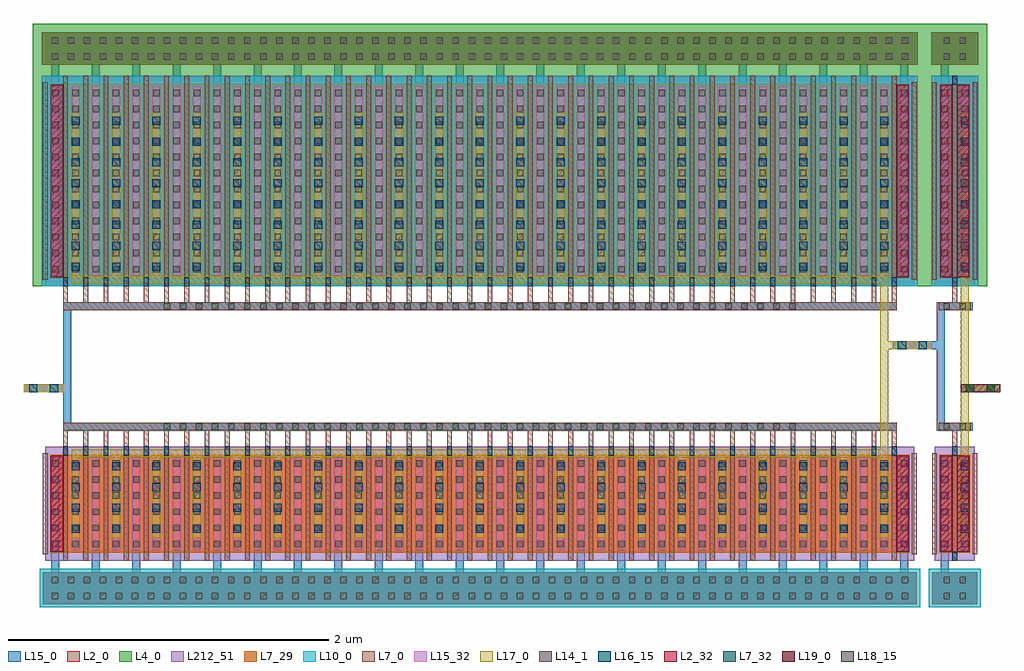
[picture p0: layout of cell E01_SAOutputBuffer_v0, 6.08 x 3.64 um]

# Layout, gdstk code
import gdstk
lib = gdstk.Library(unit=1e-6, precision=1e-09)
def R(c, l, rs):  # rectangles x0, y0, x1, y1
    for r in rs: c.add(gdstk.rectangle(r[:2], r[2:], *l))
def A(c, l, x, y, w, h, nx, ny, dx, dy):  # array of equal rectangles
    R(c, l, [(x+i*dx, y+j*dy, x+i*dx+w, y+j*dy+h) for i in range(nx) for j in range(ny)])
def P(c, l, *ps):  # polygons
    for p in ps: c.add(gdstk.Polygon(p, *l))
L2_0 = (2, 0)
L2_32 = (2, 32)
L4_0 = (4, 0)
L7_0 = (7, 0)
L7_29 = (7, 29)
L7_32 = (7, 32)
L10_0 = (10, 0)
L14_1 = (14, 1)
L15_0 = (15, 0)
L15_32 = (15, 32)
L16_15 = (16, 15)
L17_0 = (17, 0)
L18_15 = (18, 15)
L19_0 = (19, 0)
L212_51 = (212, 51)

e01_saoutputbuffer_v0_sr = lib.new_cell('E01_SAOutputBuffer_v0:SRF_Inverter1:SRF_NMOS:SRF_Drain_ViaM1M2:SRF_ViaM1M2')
R(e01_saoutputbuffer_v0_sr, L15_0, [(0,-0.422,0.05,0.082)])
A(e01_saoutputbuffer_v0_sr, L16_15, 0, -0.39, 0.05, 0.05, 1, 4, 0, 0.13)
R(e01_saoutputbuffer_v0_sr, L17_0, [(0,-0.422,0.05,0.082)])

c_e01_saoutputbuffer_v0_sr = lib.new_cell('E01_SAOutputBuffer_v0:SRF_Inverter1:SRF_NMOS:SRF_Drain_ViaM1M2')
c_e01_saoutputbuffer_v0_sr.add(gdstk.Reference(e01_saoutputbuffer_v0_sr, (-0.025,0.17)))

c_e01_saoutputbuffer_v0_sr_ = lib.new_cell('E01_SAOutputBuffer_v0:SRF_Inverter1:SRF_NMOS:SRF_Gate_ViaM0Mx:SRF_ViaM0M1')
R(c_e01_saoutputbuffer_v0_sr_, L7_0, [(-0.01,-0.004,3.95,0.044)])
A(c_e01_saoutputbuffer_v0_sr_, L14_1, 0, 0, 0.04, 0.04, 40, 1, 0.1, 0)
R(c_e01_saoutputbuffer_v0_sr_, L15_0, [(-0.021,-0.005,3.961,0.045)])

c_e01_saoutputbuffer_v0_sr__ = lib.new_cell('E01_SAOutputBuffer_v0:SRF_Inverter1:SRF_NMOS:SRF_Gate_ViaM0Mx')
c_e01_saoutputbuffer_v0_sr__.add(gdstk.Reference(c_e01_saoutputbuffer_v0_sr_, (-1.97,-0.02)))

c_e01_saoutputbuffer_v0_sr___ = lib.new_cell('E01_SAOutputBuffer_v0:SRF_Inverter1:SRF_NMOS')
R(c_e01_saoutputbuffer_v0_sr___, L2_0, [(-0.076,0.057,5.272,0.657)])
R(c_e01_saoutputbuffer_v0_sr___, L2_32, [(-0.076,0.057,0,0.657), (5.196,0.057,5.272,0.657)])
A(c_e01_saoutputbuffer_v0_sr___, L7_0, 0, 0, 0.03, 0.714, 42, 1, 0.126, 0)
A(c_e01_saoutputbuffer_v0_sr___, L7_0, 0, 0.714, 0.03, 0.1, 42, 1, 0.126, 0)
R(c_e01_saoutputbuffer_v0_sr___, L7_0, [(-0.126,0.041,-0.096,0.673), (5.292,0.041,5.322,0.673), (0,0.814,5.196,0.862)])
R(c_e01_saoutputbuffer_v0_sr___, L7_29, [(-0.081,0.052,5.277,0.662)])
A(c_e01_saoutputbuffer_v0_sr___, L7_32, 0, 0.657, 0.03, 0.057, 42, 1, 0.126, 0)
A(c_e01_saoutputbuffer_v0_sr___, L14_1, -0.068, 0.087, 0.04, 0.04, 43, 6, 0.126, 0.1)
R(c_e01_saoutputbuffer_v0_sr___, L15_0, [(-0.073,0.066,-0.023,0.648), (-0.073,0.066,-0.023,0.648), (0.053,0.066,0.103,0.648), (0.053,0.066,0.103,0.648), (0.179,0.066,0.229,0.648), (0.179,0.066,0.229,0.648), (0.305,0.066,0.355,0.648), (0.305,0.066,0.355,0.648), (0.431,0.066,0.481,0.648), (0.431,0.066,0.481,0.648), (0.557,0.066,0.607,0.648), (0.557,0.066,0.607,0.648), (0.683,0.066,0.733,0.648), (0.683,0.066,0.733,0.648), (0.809,0.066,0.859,0.648), (0.809,0.066,0.859,0.648), (0.935,0.066,0.985,0.648), (0.935,0.066,0.985,0.648), (1.061,0.066,1.111,0.648), (1.061,0.066,1.111,0.648), (1.187,0.066,1.237,0.648), (1.187,0.066,1.237,0.648), (1.313,0.066,1.363,0.648), (1.313,0.066,1.363,0.648), (1.439,0.066,1.489,0.648), (1.439,0.066,1.489,0.648), (1.565,0.066,1.615,0.648), (1.565,0.066,1.615,0.648), (1.691,0.066,1.741,0.648), (1.691,0.066,1.741,0.648), (1.817,0.066,1.867,0.648), (1.817,0.066,1.867,0.648), (1.943,0.066,1.993,0.648), (1.943,0.066,1.993,0.648), (2.069,0.066,2.119,0.648), (2.069,0.066,2.119,0.648), (2.195,0.066,2.245,0.648), (2.195,0.066,2.245,0.648), (2.321,0.066,2.371,0.648), (2.321,0.066,2.371,0.648), (2.447,0.066,2.497,0.648), (2.447,0.066,2.497,0.648), (2.573,0.066,2.623,0.648), (2.573,0.066,2.623,0.648), (2.699,0.066,2.749,0.648), (2.699,0.066,2.749,0.648), (2.825,0.066,2.875,0.648), (2.825,0.066,2.875,0.648), (2.951,0.066,3.001,0.648), (2.951,0.066,3.001,0.648), (3.077,0.066,3.127,0.648), (3.077,0.066,3.127,0.648), (3.203,0.066,3.253,0.648), (3.203,0.066,3.253,0.648), (3.329,0.066,3.379,0.648), (3.329,0.066,3.379,0.648), (3.455,0.066,3.505,0.648), (3.455,0.066,3.505,0.648), (3.581,0.066,3.631,0.648), (3.581,0.066,3.631,0.648), (3.707,0.066,3.757,0.648), (3.707,0.066,3.757,0.648), (3.833,0.066,3.883,0.648), (3.833,0.066,3.883,0.648), (3.959,0.066,4.009,0.648), (3.959,0.066,4.009,0.648), (4.085,0.066,4.135,0.648), (4.085,0.066,4.135,0.648), (4.211,0.066,4.261,0.648), (4.211,0.066,4.261,0.648), (4.337,0.066,4.387,0.648), (4.337,0.066,4.387,0.648), (4.463,0.066,4.513,0.648), (4.463,0.066,4.513,0.648), (4.589,0.066,4.639,0.648), (4.589,0.066,4.639,0.648), (4.715,0.066,4.765,0.648), (4.715,0.066,4.765,0.648), (4.841,0.066,4.891,0.648), (4.841,0.066,4.891,0.648), (4.967,0.066,5.017,0.648), (4.967,0.066,5.017,0.648), (5.093,0.066,5.143,0.648), (5.093,0.066,5.143,0.648), (5.219,0.066,5.269,0.648), (5.219,0.066,5.269,0.648), (0,0.813,5.196,0.863)])
A(c_e01_saoutputbuffer_v0_sr___, L15_32, -0.073, 0.066, 0.05, 0.582, 43, 1, 0.126, 0)
R(c_e01_saoutputbuffer_v0_sr___, L17_0, [(0.053,0.648,5.143,0.698)])
P(c_e01_saoutputbuffer_v0_sr___, L17_0, [(0.053,0.648),(0.103,0.648),(0.103,0.648),(0.053,0.648)],
  [(0.305,0.648),(0.355,0.648),(0.355,0.648),(0.305,0.648)],
  [(0.557,0.648),(0.607,0.648),(0.607,0.648),(0.557,0.648)],
  [(0.809,0.648),(0.859,0.648),(0.859,0.648),(0.809,0.648)],
  [(1.061,0.648),(1.111,0.648),(1.111,0.648),(1.061,0.648)],
  [(1.313,0.648),(1.363,0.648),(1.363,0.648),(1.313,0.648)],
  [(1.565,0.648),(1.615,0.648),(1.615,0.648),(1.565,0.648)],
  [(1.817,0.648),(1.867,0.648),(1.867,0.648),(1.817,0.648)],
  [(2.069,0.648),(2.119,0.648),(2.119,0.648),(2.069,0.648)],
  [(2.321,0.648),(2.371,0.648),(2.371,0.648),(2.321,0.648)],
  [(2.573,0.648),(2.623,0.648),(2.623,0.648),(2.573,0.648)],
  [(2.825,0.648),(2.875,0.648),(2.875,0.648),(2.825,0.648)],
  [(3.077,0.648),(3.127,0.648),(3.127,0.648),(3.077,0.648)],
  [(3.329,0.648),(3.379,0.648),(3.379,0.648),(3.329,0.648)],
  [(3.581,0.648),(3.631,0.648),(3.631,0.648),(3.581,0.648)],
  [(3.833,0.648),(3.883,0.648),(3.883,0.648),(3.833,0.648)],
  [(4.085,0.648),(4.135,0.648),(4.135,0.648),(4.085,0.648)],
  [(4.337,0.648),(4.387,0.648),(4.387,0.648),(4.337,0.648)],
  [(4.589,0.648),(4.639,0.648),(4.639,0.648),(4.589,0.648)],
  [(4.841,0.648),(4.891,0.648),(4.891,0.648),(4.841,0.648)],
  [(5.093,0.648),(5.143,0.648),(5.143,0.648),(5.093,0.648)])
R(c_e01_saoutputbuffer_v0_sr___, L212_51, [(-0.111,0.001,5.307,0.713)])
c_e01_saoutputbuffer_v0_sr___.add(gdstk.Reference(c_e01_saoutputbuffer_v0_sr, (0.078,0.396)))
c_e01_saoutputbuffer_v0_sr___.add(gdstk.Reference(c_e01_saoutputbuffer_v0_sr, (0.33,0.396)))
c_e01_saoutputbuffer_v0_sr___.add(gdstk.Reference(c_e01_saoutputbuffer_v0_sr, (0.582,0.396)))
c_e01_saoutputbuffer_v0_sr___.add(gdstk.Reference(c_e01_saoutputbuffer_v0_sr, (0.834,0.396)))
c_e01_saoutputbuffer_v0_sr___.add(gdstk.Reference(c_e01_saoutputbuffer_v0_sr, (1.086,0.396)))
c_e01_saoutputbuffer_v0_sr___.add(gdstk.Reference(c_e01_saoutputbuffer_v0_sr, (1.338,0.396)))
c_e01_saoutputbuffer_v0_sr___.add(gdstk.Reference(c_e01_saoutputbuffer_v0_sr, (1.59,0.396)))
c_e01_saoutputbuffer_v0_sr___.add(gdstk.Reference(c_e01_saoutputbuffer_v0_sr, (1.842,0.396)))
c_e01_saoutputbuffer_v0_sr___.add(gdstk.Reference(c_e01_saoutputbuffer_v0_sr, (2.094,0.396)))
c_e01_saoutputbuffer_v0_sr___.add(gdstk.Reference(c_e01_saoutputbuffer_v0_sr, (2.346,0.396)))
c_e01_saoutputbuffer_v0_sr___.add(gdstk.Reference(c_e01_saoutputbuffer_v0_sr, (2.598,0.396)))
c_e01_saoutputbuffer_v0_sr___.add(gdstk.Reference(c_e01_saoutputbuffer_v0_sr, (2.85,0.396)))
c_e01_saoutputbuffer_v0_sr___.add(gdstk.Reference(c_e01_saoutputbuffer_v0_sr, (3.102,0.396)))
c_e01_saoutputbuffer_v0_sr___.add(gdstk.Reference(c_e01_saoutputbuffer_v0_sr, (3.354,0.396)))
c_e01_saoutputbuffer_v0_sr___.add(gdstk.Reference(c_e01_saoutputbuffer_v0_sr, (3.606,0.396)))
c_e01_saoutputbuffer_v0_sr___.add(gdstk.Reference(c_e01_saoutputbuffer_v0_sr, (3.858,0.396)))
c_e01_saoutputbuffer_v0_sr___.add(gdstk.Reference(c_e01_saoutputbuffer_v0_sr, (4.11,0.396)))
c_e01_saoutputbuffer_v0_sr___.add(gdstk.Reference(c_e01_saoutputbuffer_v0_sr, (4.362,0.396)))
c_e01_saoutputbuffer_v0_sr___.add(gdstk.Reference(c_e01_saoutputbuffer_v0_sr, (4.614,0.396)))
c_e01_saoutputbuffer_v0_sr___.add(gdstk.Reference(c_e01_saoutputbuffer_v0_sr, (4.866,0.396)))
c_e01_saoutputbuffer_v0_sr___.add(gdstk.Reference(c_e01_saoutputbuffer_v0_sr, (5.118,0.396)))
c_e01_saoutputbuffer_v0_sr___.add(gdstk.Reference(c_e01_saoutputbuffer_v0_sr__, (2.598,0.838)))

c_e01_saoutputbuffer_v0_sr____ = lib.new_cell('E01_SAOutputBuffer_v0:SRF_Inverter1:SRF_Pbody:SRF_PbodyContactPhyLen')
R(c_e01_saoutputbuffer_v0_sr____, L2_0, [(-0.054,-0.13,5.394,0.07)])
R(c_e01_saoutputbuffer_v0_sr____, L10_0, [(-0.075,-0.151,5.415,0.091)])
A(c_e01_saoutputbuffer_v0_sr____, L14_1, 0, -0.1, 0.04, 0.04, 54, 2, 0.1, 0.1)
R(c_e01_saoutputbuffer_v0_sr____, L15_0, [(-0.054,-0.13,5.394,0.07)])

c_e01_saoutputbuffer_v0_sr_____ = lib.new_cell('E01_SAOutputBuffer_v0:SRF_Inverter1:SRF_Pbody')
c_e01_saoutputbuffer_v0_sr_____.add(gdstk.Reference(c_e01_saoutputbuffer_v0_sr____, (0,0)))

c_e01_saoutputbuffer_v0_sr______ = lib.new_cell('E01_SAOutputBuffer_v0:SRF_Inverter1:SRF_PMOS:SRF_Drain_ViaM1M2:SRF_ViaM1M2')
R(c_e01_saoutputbuffer_v0_sr______, L15_0, [(0,-0.942,0.05,0.082)])
A(c_e01_saoutputbuffer_v0_sr______, L16_15, 0, -0.91, 0.05, 0.05, 1, 8, 0, 0.13)
R(c_e01_saoutputbuffer_v0_sr______, L17_0, [(0,-0.942,0.05,0.082)])

c_e01_saoutputbuffer_v0_sr_______ = lib.new_cell('E01_SAOutputBuffer_v0:SRF_Inverter1:SRF_PMOS:SRF_Drain_ViaM1M2')
c_e01_saoutputbuffer_v0_sr_______.add(gdstk.Reference(c_e01_saoutputbuffer_v0_sr______, (-0.025,0.43)))

c_e01_saoutputbuffer_v0_sr________ = lib.new_cell('E01_SAOutputBuffer_v0:SRF_Inverter1:SRF_PMOS:SRF_Gate_ViaM0Mx:SRF_ViaM0M1')
R(c_e01_saoutputbuffer_v0_sr________, L7_0, [(-0.01,-0.004,3.95,0.044)])
A(c_e01_saoutputbuffer_v0_sr________, L14_1, 0, 0, 0.04, 0.04, 40, 1, 0.1, 0)
R(c_e01_saoutputbuffer_v0_sr________, L15_0, [(-0.021,-0.005,3.961,0.045)])

c_e01_saoutputbuffer_v0_sr_________ = lib.new_cell('E01_SAOutputBuffer_v0:SRF_Inverter1:SRF_PMOS:SRF_Gate_ViaM0Mx')
c_e01_saoutputbuffer_v0_sr_________.add(gdstk.Reference(c_e01_saoutputbuffer_v0_sr________, (-1.97,-0.02)))

c_e01_saoutputbuffer_v0_sr__________ = lib.new_cell('E01_SAOutputBuffer_v0:SRF_Inverter1:SRF_PMOS')
R(c_e01_saoutputbuffer_v0_sr__________, L2_0, [(-0.076,0.057,5.272,1.257)])
R(c_e01_saoutputbuffer_v0_sr__________, L2_32, [(-0.076,0.057,0,1.257), (5.196,0.057,5.272,1.257)])
A(c_e01_saoutputbuffer_v0_sr__________, L7_0, 0, -0.1, 0.03, 0.1, 42, 1, 0.126, 0)
A(c_e01_saoutputbuffer_v0_sr__________, L7_0, 0, 0, 0.03, 1.314, 42, 1, 0.126, 0)
R(c_e01_saoutputbuffer_v0_sr__________, L7_0, [(0,-0.148,5.196,-0.1), (-0.126,0.041,-0.096,1.273), (5.292,0.041,5.322,1.273)])
R(c_e01_saoutputbuffer_v0_sr__________, L7_29, [(-0.081,0.052,5.277,1.262)])
A(c_e01_saoutputbuffer_v0_sr__________, L7_32, 0, 0, 0.03, 0.057, 42, 1, 0.126, 0)
R(c_e01_saoutputbuffer_v0_sr__________, L10_0, [(-0.132,0.001,5.328,1.313)])
A(c_e01_saoutputbuffer_v0_sr__________, L14_1, -0.068, 0.087, 0.04, 0.04, 43, 12, 0.126, 0.1)
R(c_e01_saoutputbuffer_v0_sr__________, L15_0, [(0,-0.149,5.196,-0.099), (-0.073,0.066,-0.023,1.248), (-0.073,0.066,-0.023,1.248), (0.053,0.066,0.103,1.248), (0.053,0.066,0.103,1.248), (0.179,0.066,0.229,1.248), (0.179,0.066,0.229,1.248), (0.305,0.066,0.355,1.248), (0.305,0.066,0.355,1.248), (0.431,0.066,0.481,1.248), (0.431,0.066,0.481,1.248), (0.557,0.066,0.607,1.248), (0.557,0.066,0.607,1.248), (0.683,0.066,0.733,1.248), (0.683,0.066,0.733,1.248), (0.809,0.066,0.859,1.248), (0.809,0.066,0.859,1.248), (0.935,0.066,0.985,1.248), (0.935,0.066,0.985,1.248), (1.061,0.066,1.111,1.248), (1.061,0.066,1.111,1.248), (1.187,0.066,1.237,1.248), (1.187,0.066,1.237,1.248), (1.313,0.066,1.363,1.248), (1.313,0.066,1.363,1.248), (1.439,0.066,1.489,1.248), (1.439,0.066,1.489,1.248), (1.565,0.066,1.615,1.248), (1.565,0.066,1.615,1.248), (1.691,0.066,1.741,1.248), (1.691,0.066,1.741,1.248), (1.817,0.066,1.867,1.248), (1.817,0.066,1.867,1.248), (1.943,0.066,1.993,1.248), (1.943,0.066,1.993,1.248), (2.069,0.066,2.119,1.248), (2.069,0.066,2.119,1.248), (2.195,0.066,2.245,1.248), (2.195,0.066,2.245,1.248), (2.321,0.066,2.371,1.248), (2.321,0.066,2.371,1.248), (2.447,0.066,2.497,1.248), (2.447,0.066,2.497,1.248), (2.573,0.066,2.623,1.248), (2.573,0.066,2.623,1.248), (2.699,0.066,2.749,1.248), (2.699,0.066,2.749,1.248), (2.825,0.066,2.875,1.248), (2.825,0.066,2.875,1.248), (2.951,0.066,3.001,1.248), (2.951,0.066,3.001,1.248), (3.077,0.066,3.127,1.248), (3.077,0.066,3.127,1.248), (3.203,0.066,3.253,1.248), (3.203,0.066,3.253,1.248), (3.329,0.066,3.379,1.248), (3.329,0.066,3.379,1.248), (3.455,0.066,3.505,1.248), (3.455,0.066,3.505,1.248), (3.581,0.066,3.631,1.248), (3.581,0.066,3.631,1.248), (3.707,0.066,3.757,1.248), (3.707,0.066,3.757,1.248), (3.833,0.066,3.883,1.248), (3.833,0.066,3.883,1.248), (3.959,0.066,4.009,1.248), (3.959,0.066,4.009,1.248), (4.085,0.066,4.135,1.248), (4.085,0.066,4.135,1.248), (4.211,0.066,4.261,1.248), (4.211,0.066,4.261,1.248), (4.337,0.066,4.387,1.248), (4.337,0.066,4.387,1.248), (4.463,0.066,4.513,1.248), (4.463,0.066,4.513,1.248), (4.589,0.066,4.639,1.248), (4.589,0.066,4.639,1.248), (4.715,0.066,4.765,1.248), (4.715,0.066,4.765,1.248), (4.841,0.066,4.891,1.248), (4.841,0.066,4.891,1.248), (4.967,0.066,5.017,1.248), (4.967,0.066,5.017,1.248), (5.093,0.066,5.143,1.248), (5.093,0.066,5.143,1.248), (5.219,0.066,5.269,1.248), (5.219,0.066,5.269,1.248)])
A(c_e01_saoutputbuffer_v0_sr__________, L15_32, -0.073, 0.066, 0.05, 1.182, 43, 1, 0.126, 0)
R(c_e01_saoutputbuffer_v0_sr__________, L17_0, [(0.053,0.016,5.143,0.066)])
P(c_e01_saoutputbuffer_v0_sr__________, L17_0, [(0.053,0.066),(0.103,0.066),(0.103,0.066),(0.053,0.066)],
  [(0.305,0.066),(0.355,0.066),(0.355,0.066),(0.305,0.066)],
  [(0.557,0.066),(0.607,0.066),(0.607,0.066),(0.557,0.066)],
  [(0.809,0.066),(0.859,0.066),(0.859,0.066),(0.809,0.066)],
  [(1.061,0.066),(1.111,0.066),(1.111,0.066),(1.061,0.066)],
  [(1.313,0.066),(1.363,0.066),(1.363,0.066),(1.313,0.066)],
  [(1.565,0.066),(1.615,0.066),(1.615,0.066),(1.565,0.066)],
  [(1.817,0.066),(1.867,0.066),(1.867,0.066),(1.817,0.066)],
  [(2.069,0.066),(2.119,0.066),(2.119,0.066),(2.069,0.066)],
  [(2.321,0.066),(2.371,0.066),(2.371,0.066),(2.321,0.066)],
  [(2.573,0.066),(2.623,0.066),(2.623,0.066),(2.573,0.066)],
  [(2.825,0.066),(2.875,0.066),(2.875,0.066),(2.825,0.066)],
  [(3.077,0.066),(3.127,0.066),(3.127,0.066),(3.077,0.066)],
  [(3.329,0.066),(3.379,0.066),(3.379,0.066),(3.329,0.066)],
  [(3.581,0.066),(3.631,0.066),(3.631,0.066),(3.581,0.066)],
  [(3.833,0.066),(3.883,0.066),(3.883,0.066),(3.833,0.066)],
  [(4.085,0.066),(4.135,0.066),(4.135,0.066),(4.085,0.066)],
  [(4.337,0.066),(4.387,0.066),(4.387,0.066),(4.337,0.066)],
  [(4.589,0.066),(4.639,0.066),(4.639,0.066),(4.589,0.066)],
  [(4.841,0.066),(4.891,0.066),(4.891,0.066),(4.841,0.066)],
  [(5.093,0.066),(5.143,0.066),(5.143,0.066),(5.093,0.066)])
R(c_e01_saoutputbuffer_v0_sr__________, L212_51, [(-0.111,0.001,5.307,1.313)])
c_e01_saoutputbuffer_v0_sr__________.add(gdstk.Reference(c_e01_saoutputbuffer_v0_sr_______, (0.078,0.578)))
c_e01_saoutputbuffer_v0_sr__________.add(gdstk.Reference(c_e01_saoutputbuffer_v0_sr_______, (0.33,0.578)))
c_e01_saoutputbuffer_v0_sr__________.add(gdstk.Reference(c_e01_saoutputbuffer_v0_sr_______, (0.582,0.578)))
c_e01_saoutputbuffer_v0_sr__________.add(gdstk.Reference(c_e01_saoutputbuffer_v0_sr_______, (0.834,0.578)))
c_e01_saoutputbuffer_v0_sr__________.add(gdstk.Reference(c_e01_saoutputbuffer_v0_sr_______, (1.086,0.578)))
c_e01_saoutputbuffer_v0_sr__________.add(gdstk.Reference(c_e01_saoutputbuffer_v0_sr_______, (1.338,0.578)))
c_e01_saoutputbuffer_v0_sr__________.add(gdstk.Reference(c_e01_saoutputbuffer_v0_sr_______, (1.59,0.578)))
c_e01_saoutputbuffer_v0_sr__________.add(gdstk.Reference(c_e01_saoutputbuffer_v0_sr_______, (1.842,0.578)))
c_e01_saoutputbuffer_v0_sr__________.add(gdstk.Reference(c_e01_saoutputbuffer_v0_sr_______, (2.094,0.578)))
c_e01_saoutputbuffer_v0_sr__________.add(gdstk.Reference(c_e01_saoutputbuffer_v0_sr_______, (2.346,0.578)))
c_e01_saoutputbuffer_v0_sr__________.add(gdstk.Reference(c_e01_saoutputbuffer_v0_sr_______, (2.598,0.578)))
c_e01_saoutputbuffer_v0_sr__________.add(gdstk.Reference(c_e01_saoutputbuffer_v0_sr_______, (2.85,0.578)))
c_e01_saoutputbuffer_v0_sr__________.add(gdstk.Reference(c_e01_saoutputbuffer_v0_sr_______, (3.102,0.578)))
c_e01_saoutputbuffer_v0_sr__________.add(gdstk.Reference(c_e01_saoutputbuffer_v0_sr_______, (3.354,0.578)))
c_e01_saoutputbuffer_v0_sr__________.add(gdstk.Reference(c_e01_saoutputbuffer_v0_sr_______, (3.606,0.578)))
c_e01_saoutputbuffer_v0_sr__________.add(gdstk.Reference(c_e01_saoutputbuffer_v0_sr_______, (3.858,0.578)))
c_e01_saoutputbuffer_v0_sr__________.add(gdstk.Reference(c_e01_saoutputbuffer_v0_sr_______, (4.11,0.578)))
c_e01_saoutputbuffer_v0_sr__________.add(gdstk.Reference(c_e01_saoutputbuffer_v0_sr_______, (4.362,0.578)))
c_e01_saoutputbuffer_v0_sr__________.add(gdstk.Reference(c_e01_saoutputbuffer_v0_sr_______, (4.614,0.578)))
c_e01_saoutputbuffer_v0_sr__________.add(gdstk.Reference(c_e01_saoutputbuffer_v0_sr_______, (4.866,0.578)))
c_e01_saoutputbuffer_v0_sr__________.add(gdstk.Reference(c_e01_saoutputbuffer_v0_sr_______, (5.118,0.578)))
c_e01_saoutputbuffer_v0_sr__________.add(gdstk.Reference(c_e01_saoutputbuffer_v0_sr_________, (2.598,-0.124)))

c_e01_saoutputbuffer_v0_sr___________ = lib.new_cell('E01_SAOutputBuffer_v0:SRF_Inverter1:SRF_Nbody:SRF_NbodyContactPhyLen')
R(c_e01_saoutputbuffer_v0_sr___________, L2_0, [(-0.06,-0.13,5.4,0.07)])
R(c_e01_saoutputbuffer_v0_sr___________, L4_0, [(-0.116,-0.186,5.456,0.126)])
A(c_e01_saoutputbuffer_v0_sr___________, L14_1, 0, -0.1, 0.04, 0.04, 54, 2, 0.1, 0.1)
R(c_e01_saoutputbuffer_v0_sr___________, L15_0, [(-0.06,-0.13,5.4,0.07)])

c_e01_saoutputbuffer_v0_sr____________ = lib.new_cell('E01_SAOutputBuffer_v0:SRF_Inverter1:SRF_Nbody')
c_e01_saoutputbuffer_v0_sr____________.add(gdstk.Reference(c_e01_saoutputbuffer_v0_sr___________, (0,0)))

c_e01_saoutputbuffer_v0_sr_____________ = lib.new_cell('E01_SAOutputBuffer_v0:SRF_Inverter1')
R(c_e01_saoutputbuffer_v0_sr_____________, L4_0, [(-0.188,1.713,5.384,3.351)])
A(c_e01_saoutputbuffer_v0_sr_____________, L15_0, -0.073, -0.269, 0.05, 0.917, 22, 1, 0.252, 0)
A(c_e01_saoutputbuffer_v0_sr_____________, L15_0, -0.073, 1.778, 0.05, 1.517, 22, 1, 0.252, 0)
R(c_e01_saoutputbuffer_v0_sr_____________, L15_0, [(0,0.813,0.05,1.613)])
P(c_e01_saoutputbuffer_v0_sr_____________, L15_0, [(0,0.813),(0,0.813),(0,0.863),(0,0.863)])
R(c_e01_saoutputbuffer_v0_sr_____________, L17_0, [(5.093,0.648,5.143,1.778)])
P(c_e01_saoutputbuffer_v0_sr_____________, L17_0, [(5.143,0.648),(5.143,0.648),(5.143,0.698),(5.143,0.698)])
c_e01_saoutputbuffer_v0_sr_____________.add(gdstk.Reference(c_e01_saoutputbuffer_v0_sr___, (0,0)))
c_e01_saoutputbuffer_v0_sr_____________.add(gdstk.Reference(c_e01_saoutputbuffer_v0_sr_____, (-0.072,-0.139)))
c_e01_saoutputbuffer_v0_sr_____________.add(gdstk.Reference(c_e01_saoutputbuffer_v0_sr__________, (0,1.712)))
c_e01_saoutputbuffer_v0_sr_____________.add(gdstk.Reference(c_e01_saoutputbuffer_v0_sr____________, (-0.072,3.225)))

c_e01_saoutputbuffer_v0_sr______________ = lib.new_cell('E01_SAOutputBuffer_v0:SRF_Inverter2:SRF_NMOS:SRF_Drain_ViaM1M2:SRF_ViaM1M2')
R(c_e01_saoutputbuffer_v0_sr______________, L15_0, [(0,-0.422,0.05,0.082)])
A(c_e01_saoutputbuffer_v0_sr______________, L16_15, 0, -0.39, 0.05, 0.05, 1, 4, 0, 0.13)
R(c_e01_saoutputbuffer_v0_sr______________, L17_0, [(0,-0.422,0.05,0.082)])

c_e01_saoutputbuffer_v0_sr_______________ = lib.new_cell('E01_SAOutputBuffer_v0:SRF_Inverter2:SRF_NMOS:SRF_Drain_ViaM1M2')
c_e01_saoutputbuffer_v0_sr_______________.add(gdstk.Reference(c_e01_saoutputbuffer_v0_sr______________, (-0.025,0.17)))

c_e01_saoutputbuffer_v0_sr________________ = lib.new_cell('E01_SAOutputBuffer_v0:SRF_Inverter2:SRF_NMOS:SRF_Gate_ViaM0Mx:SRF_ViaM0M1')
R(c_e01_saoutputbuffer_v0_sr________________, L7_0, [(-0.01,-0.004,0.15,0.044)])
R(c_e01_saoutputbuffer_v0_sr________________, L14_1, [(0,0,0.04,0.04), (0.1,0,0.14,0.04)])
R(c_e01_saoutputbuffer_v0_sr________________, L15_0, [(-0.021,-0.005,0.161,0.045)])

c_e01_saoutputbuffer_v0_sr_________________ = lib.new_cell('E01_SAOutputBuffer_v0:SRF_Inverter2:SRF_NMOS:SRF_Gate_ViaM0Mx')
c_e01_saoutputbuffer_v0_sr_________________.add(gdstk.Reference(c_e01_saoutputbuffer_v0_sr________________, (-0.07,-0.02)))

c_e01_saoutputbuffer_v0_sr__________________ = lib.new_cell('E01_SAOutputBuffer_v0:SRF_Inverter2:SRF_NMOS')
R(c_e01_saoutputbuffer_v0_sr__________________, L2_0, [(-0.076,0.057,0.106,0.657)])
R(c_e01_saoutputbuffer_v0_sr__________________, L2_32, [(-0.076,0.057,0,0.657), (0.03,0.057,0.106,0.657)])
R(c_e01_saoutputbuffer_v0_sr__________________, L7_0, [(0,0,0.03,0.714), (-0.126,0.041,-0.096,0.673), (0.126,0.041,0.156,0.673), (0,0.714,0.03,0.814), (-0.085,0.814,0.115,0.862)])
R(c_e01_saoutputbuffer_v0_sr__________________, L7_29, [(-0.081,0.052,0.111,0.662)])
R(c_e01_saoutputbuffer_v0_sr__________________, L7_32, [(0,0,0.03,0.057), (0,0.657,0.03,0.714)])
A(c_e01_saoutputbuffer_v0_sr__________________, L14_1, -0.068, 0.087, 0.04, 0.04, 1, 6, 0, 0.1)
A(c_e01_saoutputbuffer_v0_sr__________________, L14_1, 0.058, 0.087, 0.04, 0.04, 1, 6, 0, 0.1)
R(c_e01_saoutputbuffer_v0_sr__________________, L15_0, [(-0.073,0.066,-0.023,0.648), (-0.073,0.066,-0.023,0.648), (0.053,0.066,0.103,0.648), (0.053,0.066,0.103,0.648), (-0.096,0.813,0.126,0.863)])
R(c_e01_saoutputbuffer_v0_sr__________________, L15_32, [(-0.073,0.066,-0.023,0.648), (0.053,0.066,0.103,0.648)])
R(c_e01_saoutputbuffer_v0_sr__________________, L17_0, [(0.053,0.648,0.103,0.698)])
P(c_e01_saoutputbuffer_v0_sr__________________, L17_0, [(0.053,0.648),(0.103,0.648),(0.103,0.648),(0.053,0.648)])
R(c_e01_saoutputbuffer_v0_sr__________________, L212_51, [(-0.111,0.001,0.141,0.713)])
c_e01_saoutputbuffer_v0_sr__________________.add(gdstk.Reference(c_e01_saoutputbuffer_v0_sr_______________, (0.078,0.396)))
c_e01_saoutputbuffer_v0_sr__________________.add(gdstk.Reference(c_e01_saoutputbuffer_v0_sr_________________, (0.015,0.838)))

c_e01_saoutputbuffer_v0_sr___________________ = lib.new_cell('E01_SAOutputBuffer_v0:SRF_Inverter2:SRF_Pbody:SRF_PbodyContactPhyLen')
R(c_e01_saoutputbuffer_v0_sr___________________, L2_0, [(-0.071,-0.13,0.211,0.07)])
R(c_e01_saoutputbuffer_v0_sr___________________, L10_0, [(-0.092,-0.151,0.232,0.091)])
R(c_e01_saoutputbuffer_v0_sr___________________, L14_1, [(0,-0.1,0.04,-0.06), (0.1,-0.1,0.14,-0.06), (0,0,0.04,0.04), (0.1,0,0.14,0.04)])
R(c_e01_saoutputbuffer_v0_sr___________________, L15_0, [(-0.071,-0.13,0.211,0.07)])

c_e01_saoutputbuffer_v0_sr____________________ = lib.new_cell('E01_SAOutputBuffer_v0:SRF_Inverter2:SRF_Pbody')
c_e01_saoutputbuffer_v0_sr____________________.add(gdstk.Reference(c_e01_saoutputbuffer_v0_sr___________________, (0,0)))

c_e01_saoutputbuffer_v0_sr_____________________ = lib.new_cell('E01_SAOutputBuffer_v0:SRF_Inverter2:SRF_PMOS:SRF_Drain_ViaM1M2:SRF_ViaM1M2')
R(c_e01_saoutputbuffer_v0_sr_____________________, L15_0, [(0,-0.942,0.05,0.082)])
A(c_e01_saoutputbuffer_v0_sr_____________________, L16_15, 0, -0.91, 0.05, 0.05, 1, 8, 0, 0.13)
R(c_e01_saoutputbuffer_v0_sr_____________________, L17_0, [(0,-0.942,0.05,0.082)])

c_e01_saoutputbuffer_v0_sr______________________ = lib.new_cell('E01_SAOutputBuffer_v0:SRF_Inverter2:SRF_PMOS:SRF_Drain_ViaM1M2')
c_e01_saoutputbuffer_v0_sr______________________.add(gdstk.Reference(c_e01_saoutputbuffer_v0_sr_____________________, (-0.025,0.43)))

c_e01_saoutputbuffer_v0_sr_______________________ = lib.new_cell('E01_SAOutputBuffer_v0:SRF_Inverter2:SRF_PMOS:SRF_Gate_ViaM0Mx:SRF_ViaM0M1')
R(c_e01_saoutputbuffer_v0_sr_______________________, L7_0, [(-0.01,-0.004,0.15,0.044)])
R(c_e01_saoutputbuffer_v0_sr_______________________, L14_1, [(0,0,0.04,0.04), (0.1,0,0.14,0.04)])
R(c_e01_saoutputbuffer_v0_sr_______________________, L15_0, [(-0.021,-0.005,0.161,0.045)])

c_e01_saoutputbuffer_v0_sr________________________ = lib.new_cell('E01_SAOutputBuffer_v0:SRF_Inverter2:SRF_PMOS:SRF_Gate_ViaM0Mx')
c_e01_saoutputbuffer_v0_sr________________________.add(gdstk.Reference(c_e01_saoutputbuffer_v0_sr_______________________, (-0.07,-0.02)))

c_e01_saoutputbuffer_v0_sr_________________________ = lib.new_cell('E01_SAOutputBuffer_v0:SRF_Inverter2:SRF_PMOS')
R(c_e01_saoutputbuffer_v0_sr_________________________, L2_0, [(-0.076,0.057,0.106,1.257)])
R(c_e01_saoutputbuffer_v0_sr_________________________, L2_32, [(-0.076,0.057,0,1.257), (0.03,0.057,0.106,1.257)])
R(c_e01_saoutputbuffer_v0_sr_________________________, L7_0, [(-0.085,-0.148,0.115,-0.1), (0,-0.1,0.03,0), (0,0,0.03,1.314), (-0.126,0.041,-0.096,1.273), (0.126,0.041,0.156,1.273)])
R(c_e01_saoutputbuffer_v0_sr_________________________, L7_29, [(-0.081,0.052,0.111,1.262)])
R(c_e01_saoutputbuffer_v0_sr_________________________, L7_32, [(0,0,0.03,0.057), (0,1.257,0.03,1.314)])
R(c_e01_saoutputbuffer_v0_sr_________________________, L10_0, [(-0.132,0.001,0.162,1.313)])
A(c_e01_saoutputbuffer_v0_sr_________________________, L14_1, -0.068, 0.087, 0.04, 0.04, 1, 12, 0, 0.1)
A(c_e01_saoutputbuffer_v0_sr_________________________, L14_1, 0.058, 0.087, 0.04, 0.04, 1, 12, 0, 0.1)
R(c_e01_saoutputbuffer_v0_sr_________________________, L15_0, [(-0.096,-0.149,0.126,-0.099), (-0.073,0.066,-0.023,1.248), (-0.073,0.066,-0.023,1.248), (0.053,0.066,0.103,1.248), (0.053,0.066,0.103,1.248)])
R(c_e01_saoutputbuffer_v0_sr_________________________, L15_32, [(-0.073,0.066,-0.023,1.248), (0.053,0.066,0.103,1.248)])
R(c_e01_saoutputbuffer_v0_sr_________________________, L17_0, [(0.053,0.016,0.103,0.066)])
P(c_e01_saoutputbuffer_v0_sr_________________________, L17_0, [(0.053,0.066),(0.103,0.066),(0.103,0.066),(0.053,0.066)])
R(c_e01_saoutputbuffer_v0_sr_________________________, L212_51, [(-0.111,0.001,0.141,1.313)])
c_e01_saoutputbuffer_v0_sr_________________________.add(gdstk.Reference(c_e01_saoutputbuffer_v0_sr______________________, (0.078,0.578)))
c_e01_saoutputbuffer_v0_sr_________________________.add(gdstk.Reference(c_e01_saoutputbuffer_v0_sr________________________, (0.015,-0.124)))

c_e01_saoutputbuffer_v0_sr__________________________ = lib.new_cell('E01_SAOutputBuffer_v0:SRF_Inverter2:SRF_Nbody:SRF_NbodyContactPhyLen')
R(c_e01_saoutputbuffer_v0_sr__________________________, L2_0, [(-0.077,-0.13,0.217,0.07)])
R(c_e01_saoutputbuffer_v0_sr__________________________, L4_0, [(-0.133,-0.186,0.273,0.126)])
R(c_e01_saoutputbuffer_v0_sr__________________________, L14_1, [(0,-0.1,0.04,-0.06), (0.1,-0.1,0.14,-0.06), (0,0,0.04,0.04), (0.1,0,0.14,0.04)])
R(c_e01_saoutputbuffer_v0_sr__________________________, L15_0, [(-0.077,-0.13,0.217,0.07)])

c_e01_saoutputbuffer_v0_sr___________________________ = lib.new_cell('E01_SAOutputBuffer_v0:SRF_Inverter2:SRF_Nbody')
c_e01_saoutputbuffer_v0_sr___________________________.add(gdstk.Reference(c_e01_saoutputbuffer_v0_sr__________________________, (0,0)))

c_e01_saoutputbuffer_v0_sr____________________________ = lib.new_cell('E01_SAOutputBuffer_v0:SRF_Inverter2')
R(c_e01_saoutputbuffer_v0_sr____________________________, L4_0, [(-0.188,1.713,0.218,3.351)])
R(c_e01_saoutputbuffer_v0_sr____________________________, L15_0, [(-0.073,-0.269,-0.023,0.648), (-0.096,0.813,-0.046,1.613), (-0.073,1.778,-0.023,3.295)])
P(c_e01_saoutputbuffer_v0_sr____________________________, L15_0, [(-0.096,0.813),(-0.096,0.813),(-0.096,0.863),(-0.096,0.863)])
R(c_e01_saoutputbuffer_v0_sr____________________________, L17_0, [(0.053,0.648,0.103,1.778)])
P(c_e01_saoutputbuffer_v0_sr____________________________, L17_0, [(0.103,0.648),(0.103,0.648),(0.103,0.698),(0.103,0.698)])
c_e01_saoutputbuffer_v0_sr____________________________.add(gdstk.Reference(c_e01_saoutputbuffer_v0_sr__________________, (0,0)))
c_e01_saoutputbuffer_v0_sr____________________________.add(gdstk.Reference(c_e01_saoutputbuffer_v0_sr____________________, (-0.055,-0.139)))
c_e01_saoutputbuffer_v0_sr____________________________.add(gdstk.Reference(c_e01_saoutputbuffer_v0_sr_________________________, (0,1.712)))
c_e01_saoutputbuffer_v0_sr____________________________.add(gdstk.Reference(c_e01_saoutputbuffer_v0_sr___________________________, (-0.055,3.225)))

c_e01_saoutputbuffer_v0_sr_____________________________ = lib.new_cell('E01_SAOutputBuffer_v0:SRF_Inv1Input_ViaM1M2:SRF_ViaM1M2')
R(c_e01_saoutputbuffer_v0_sr_____________________________, L15_0, [(-0.032,0,0.212,0.05)])
R(c_e01_saoutputbuffer_v0_sr_____________________________, L16_15, [(0,0,0.05,0.05), (0.13,0,0.18,0.05)])
R(c_e01_saoutputbuffer_v0_sr_____________________________, L17_0, [(-0.032,0,0.212,0.05)])

c_e01_saoutputbuffer_v0_sr______________________________ = lib.new_cell('E01_SAOutputBuffer_v0:SRF_Inv1Input_ViaM1M2')
c_e01_saoutputbuffer_v0_sr______________________________.add(gdstk.Reference(c_e01_saoutputbuffer_v0_sr_____________________________, (-0.09,-0.025)))

c_e01_saoutputbuffer_v0_sr_______________________________ = lib.new_cell('E01_SAOutputBuffer_v0:SRF_Inv1Out2Inv2In_ViaM1M2:SRF_ViaM1M2')
R(c_e01_saoutputbuffer_v0_sr_______________________________, L15_0, [(-0.032,0,0.212,0.05)])
R(c_e01_saoutputbuffer_v0_sr_______________________________, L16_15, [(0,0,0.05,0.05), (0.13,0,0.18,0.05)])
R(c_e01_saoutputbuffer_v0_sr_______________________________, L17_0, [(-0.032,0,0.212,0.05)])

c_e01_saoutputbuffer_v0_sr________________________________ = lib.new_cell('E01_SAOutputBuffer_v0:SRF_Inv1Out2Inv2In_ViaM1M2')
c_e01_saoutputbuffer_v0_sr________________________________.add(gdstk.Reference(c_e01_saoutputbuffer_v0_sr_______________________________, (-0.09,-0.025)))

c_e01_saoutputbuffer_v0_sr_________________________________ = lib.new_cell('E01_SAOutputBuffer_v0:SRF_Inv2Output_ViaM1M3:SRF_ViaM1M2')
R(c_e01_saoutputbuffer_v0_sr_________________________________, L15_0, [(-0.032,0,0.212,0.05)])
R(c_e01_saoutputbuffer_v0_sr_________________________________, L16_15, [(0,0,0.05,0.05), (0.13,0,0.18,0.05)])
R(c_e01_saoutputbuffer_v0_sr_________________________________, L17_0, [(-0.032,0,0.212,0.05)])

c_e01_saoutputbuffer_v0_sr__________________________________ = lib.new_cell('E01_SAOutputBuffer_v0:SRF_Inv2Output_ViaM1M3:SRF_ViaM2M3')
R(c_e01_saoutputbuffer_v0_sr__________________________________, L17_0, [(-0.032,0,0.212,0.05)])
R(c_e01_saoutputbuffer_v0_sr__________________________________, L18_15, [(0,0,0.05,0.05), (0.13,0,0.18,0.05)])
R(c_e01_saoutputbuffer_v0_sr__________________________________, L19_0, [(-0.032,0,0.212,0.05)])

c_e01_saoutputbuffer_v0_sr___________________________________ = lib.new_cell('E01_SAOutputBuffer_v0:SRF_Inv2Output_ViaM1M3')
c_e01_saoutputbuffer_v0_sr___________________________________.add(gdstk.Reference(c_e01_saoutputbuffer_v0_sr_________________________________, (-0.09,-0.025)))
c_e01_saoutputbuffer_v0_sr___________________________________.add(gdstk.Reference(c_e01_saoutputbuffer_v0_sr__________________________________, (-0.09,-0.025)))

e01_saoutputbuffer_v0 = lib.new_cell('E01_SAOutputBuffer_v0')
R(e01_saoutputbuffer_v0, L15_0, [(5.173,1.319,5.498,1.369)])
R(e01_saoutputbuffer_v0, L17_0, [(5.093,1.319,5.417,1.369)])
e01_saoutputbuffer_v0.add(gdstk.Reference(c_e01_saoutputbuffer_v0_sr_____________, (0,0)))
e01_saoutputbuffer_v0.add(gdstk.Reference(c_e01_saoutputbuffer_v0_sr____________________________, (5.544,0)))
e01_saoutputbuffer_v0.add(gdstk.Reference(c_e01_saoutputbuffer_v0_sr______________________________, (-0.122,1.078)))
e01_saoutputbuffer_v0.add(gdstk.Reference(c_e01_saoutputbuffer_v0_sr________________________________, (5.295,1.344)))
e01_saoutputbuffer_v0.add(gdstk.Reference(c_e01_saoutputbuffer_v0_sr___________________________________, (5.719,1.078)))

lib.write_gds('E01_SAOutputBuffer_v0.gds')
